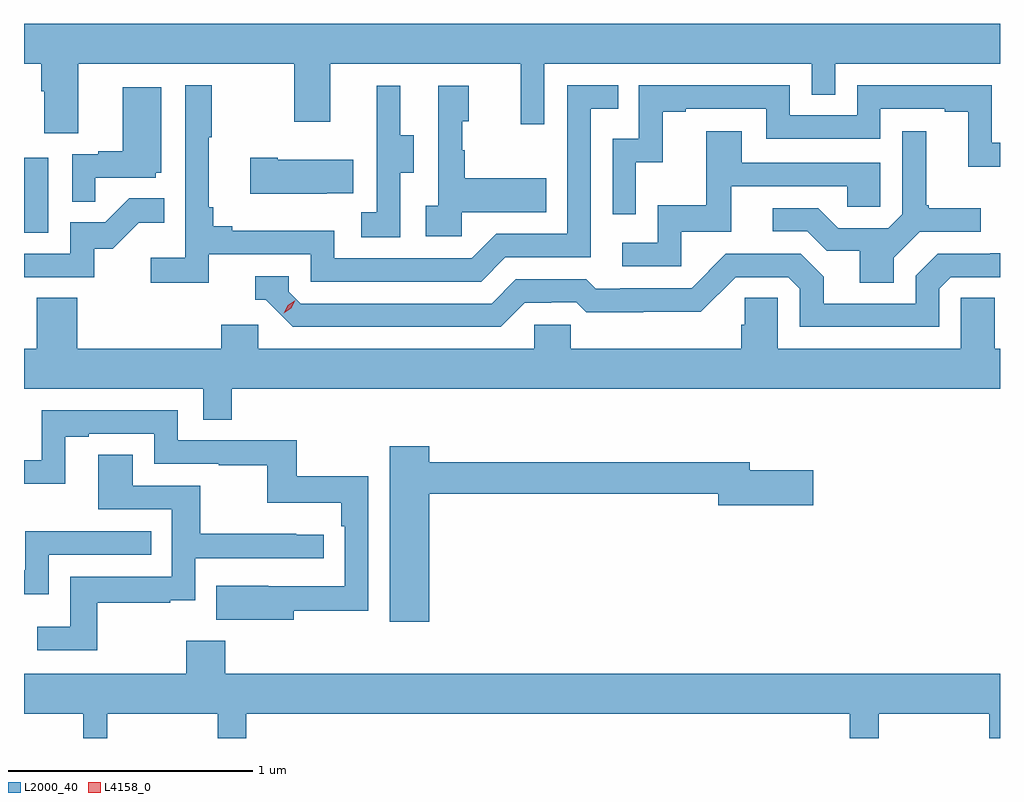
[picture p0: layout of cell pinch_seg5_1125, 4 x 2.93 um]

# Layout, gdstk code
import gdstk
lib = gdstk.Library(unit=1e-6, precision=1e-09)
def R(c, l, rs):  # rectangles x0, y0, x1, y1
    for r in rs: c.add(gdstk.rectangle(r[:2], r[2:], *l))
def P(c, l, *ps):  # polygons
    for p in ps: c.add(gdstk.Polygon(p, *l))
L2000_40 = (2000, 40)
L4158_0 = (4158, 0)

pinch_seg5_1125 = lib.new_cell('pinch_seg5_1125')
R(pinch_seg5_1125, L2000_40, [(852.918,838.011,853.036,838.012), (852.918,840.084,853.018,840.391)])
P(pinch_seg5_1125, L2000_40, [(853.141,840.776),(854.026,840.776),(854.026,840.537),(854.173,840.537),(854.173,840.776),(854.954,840.776),(854.954,840.528),(855.051,840.528),(855.051,840.776),(856.146,840.776),(856.146,840.649),(856.242,840.649),(856.242,840.776),(856.918,840.776),(856.918,840.94),(852.918,840.94),(852.918,840.776),(852.989,840.776),(852.989,840.664),(853.001,840.664),(853.001,840.49),(853.141,840.49)],
  [(853.676,839.994),(854.094,839.994),(854.094,839.883),(854.791,839.883),(854.89,839.982),(855.24,839.982),(855.24,840.591),(855.353,840.591),(855.353,840.687),(855.144,840.687),(855.144,840.078),(854.853,840.078),(854.754,839.979),(854.19,839.979),(854.19,840.091),(853.771,840.091),(853.771,840.11),(853.694,840.11),(853.694,840.187),(853.675,840.187),(853.675,840.475),(853.687,840.475),(853.687,840.688),(853.578,840.688),(853.578,839.98),(853.437,839.98),(853.437,839.878),(853.676,839.878)],
  [(855.426,840.371),(855.536,840.371),(855.536,840.579),(855.631,840.579),(855.631,840.591),(855.96,840.591),(855.96,840.468),(856.428,840.468),(856.428,840.591),(856.691,840.591),(856.691,840.579),(856.787,840.579),(856.787,840.353),(856.918,840.353),(856.918,840.451),(856.884,840.451),(856.884,840.687),(856.332,840.687),(856.332,840.564),(856.056,840.564),(856.056,840.687),(855.438,840.687),(855.438,840.468),(855.33,840.468),(855.33,840.159),(855.426,840.159)],
  [(854.46,840.328),(854.515,840.328),(854.515,840.483),(854.461,840.483),(854.461,840.685),(854.363,840.685),(854.363,840.471),(854.364,840.471),(854.364,840.167),(854.301,840.167),(854.301,840.064),(854.46,840.064)],
  [(854.712,840.167),(855.059,840.167),(855.059,840.307),(854.725,840.307),(854.725,840.422),(854.715,840.422),(854.715,840.54),(854.74,840.54),(854.74,840.685),(854.616,840.685),(854.616,840.194),(854.565,840.194),(854.565,840.069),(854.712,840.069)],
  [(853.211,840.309),(853.458,840.309),(853.458,840.33),(853.48,840.33),(853.48,840.679),(853.322,840.679),(853.322,840.418),(853.223,840.418),(853.223,840.405),(853.116,840.405),(853.116,840.211),(853.211,840.211)],
  [(855.612,840.087),(855.817,840.087),(855.817,840.273),(856.291,840.273),(856.291,840.189),(856.428,840.189),(856.428,840.369),(855.859,840.369),(855.859,840.499),(855.715,840.499),(855.715,840.196),(855.516,840.196),(855.516,840.042),(855.369,840.042),(855.369,839.946),(855.612,839.946)],
  [(856.483,839.98),(856.59,840.087),(856.84,840.087),(856.84,840.184),(856.627,840.184),(856.627,840.196),(856.615,840.196),(856.615,840.499),(856.518,840.499),(856.518,840.159),(856.461,840.102),(856.255,840.102),(856.174,840.183),(855.987,840.183),(855.987,840.09),(856.128,840.09),(856.208,840.01),(856.343,840.01),(856.343,839.878),(856.483,839.878)],
  [(854.159,840.245),(854.267,840.245),(854.267,840.382),(853.957,840.382),(853.957,840.39),(853.845,840.39),(853.845,840.242),(854.159,840.242)],
  [(853.206,840.018),(853.282,840.018),(853.389,840.125),(853.493,840.125),(853.493,840.224),(853.349,840.224),(853.251,840.126),(853.107,840.126),(853.107,839.997),(852.918,839.997),(852.918,839.901),(853.206,839.901)],
  [(854.971,839.796),(855.078,839.796),(855.078,839.799),(855.181,839.799),(855.223,839.757),(855.456,839.757),(855.456,839.759),(855.692,839.759),(855.834,839.901),(856.05,839.901),(856.098,839.853),(856.098,839.697),(856.668,839.697),(856.668,839.853),(856.716,839.901),(856.918,839.901),(856.918,839.999),(856.878,839.999),(856.878,839.997),(856.662,839.997),(856.572,839.907),(856.572,839.793),(856.195,839.793),(856.195,839.903),(856.101,839.997),(855.795,839.997),(855.654,839.856),(855.361,839.856),(855.361,839.853),(855.262,839.853),(855.223,839.892),(854.934,839.892),(854.835,839.793),(854.052,839.793),(854.004,839.841),(854.004,839.904),(853.865,839.904),(853.865,839.808),(853.908,839.808),(854.019,839.697),(854.872,839.697)],
  [(853.769,839.444),(856.918,839.444),(856.918,839.608),(856.897,839.608),(856.897,839.816),(856.758,839.816),(856.758,839.608),(856.008,839.608),(856.008,839.816),(855.871,839.816),(855.871,839.706),(855.857,839.706),(855.857,839.608),(855.159,839.608),(855.159,839.706),(855.009,839.706),(855.009,839.608),(853.878,839.608),(853.878,839.706),(853.727,839.706),(853.727,839.608),(853.136,839.608),(853.136,839.816),(852.971,839.816),(852.971,839.608),(852.918,839.608),(852.918,839.444),(853.653,839.444),(853.653,839.317),(853.769,839.317)],
  [(854.023,838.534),(854.328,838.534),(854.328,839.086),(854.035,839.086),(854.035,839.232),(853.548,839.232),(853.548,839.355),(852.99,839.355),(852.99,839.151),(852.918,839.151),(852.918,839.054),(853.087,839.054),(853.087,839.247),(853.183,839.247),(853.183,839.259),(853.452,839.259),(853.452,839.136),(853.717,839.136),(853.717,839.131),(853.914,839.131),(853.914,838.976),(854.219,838.976),(854.219,838.88),(854.232,838.88),(854.232,838.635),(853.919,838.635),(853.919,838.636),(853.705,838.636),(853.705,838.496),(854.023,838.496)],
  [(854.578,839.014),(855.764,839.014),(855.764,838.967),(856.153,838.967),(856.153,839.109),(855.892,839.109),(855.892,839.143),(854.578,839.143),(854.578,839.209),(854.417,839.209),(854.417,838.488),(854.578,838.488)],
  [(853.219,838.566),(853.517,838.566),(853.517,838.577),(853.62,838.577),(853.62,838.749),(854.146,838.749),(854.146,838.845),(854.033,838.845),(854.033,838.85),(853.64,838.85),(853.64,839.046),(853.363,839.046),(853.363,839.174),(853.223,839.174),(853.223,838.95),(853.524,838.95),(853.524,838.674),(853.108,838.674),(853.108,838.468),(852.973,838.468),(852.973,838.371),(853.219,838.371)],
  [(853.02,838.764),(853.439,838.764),(853.439,838.86),(852.924,838.86),(852.924,838.699),(852.918,838.699),(852.918,838.601),(853.02,838.601)],
  [(853.712,838.011),(853.829,838.011),(853.829,838.112),(856.303,838.112),(856.303,838.011),(856.421,838.011),(856.421,838.112),(856.874,838.112),(856.874,838.011),(856.918,838.011),(856.918,838.276),(853.742,838.276),(853.742,838.411),(853.582,838.411),(853.582,838.276),(852.918,838.276),(852.918,838.112),(853.161,838.112),(853.161,838.011),(853.259,838.011),(853.259,838.112),(853.712,838.112)])
P(pinch_seg5_1125, L4158_0, [(853.982,839.753),(853.982,839.753),(853.998,839.786),(854.029,839.807),(854.029,839.807),(854.029,839.806),(854.013,839.773),(853.983,839.753)])

lib.write_gds('pinch_seg5_1125.gds')
